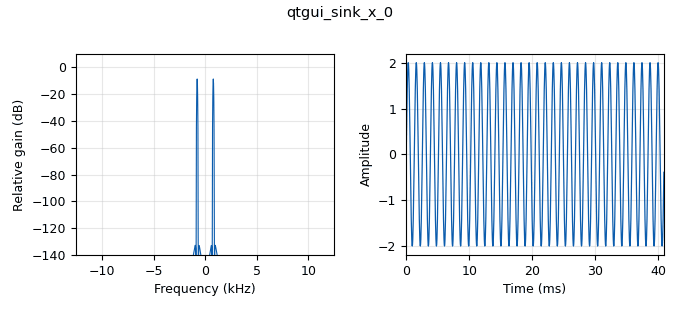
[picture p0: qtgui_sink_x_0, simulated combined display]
options:
  parameters:
    generate_options: qt_gui
    id: Sudarshan
    output_language: python
    title: Not titled yet
  states: {}

blocks:
- name: samp_rate
  id: variable
  parameters:
    value: '32000'
  states: {}
- name: analog_sig_source_x_0
  id: analog_sig_source_x
  parameters:
    amp: '2'
    freq: '1000'
    offset: '0'
    phase: '0'
    samp_rate: samp_rate
    type: float
    waveform: analog.GR_SIN_WAVE
  states: {}
- name: qtgui_sink_x_0
  id: qtgui_sink_x
  parameters:
    bw: '25000'
    fc: '0'
    fftsize: '1024'
    type: float
  states: {}

connections:
- [analog_sig_source_x_0, '0', qtgui_sink_x_0, '0']

metadata:
  file_format: 1
  grc_version: 3.10.12.0
